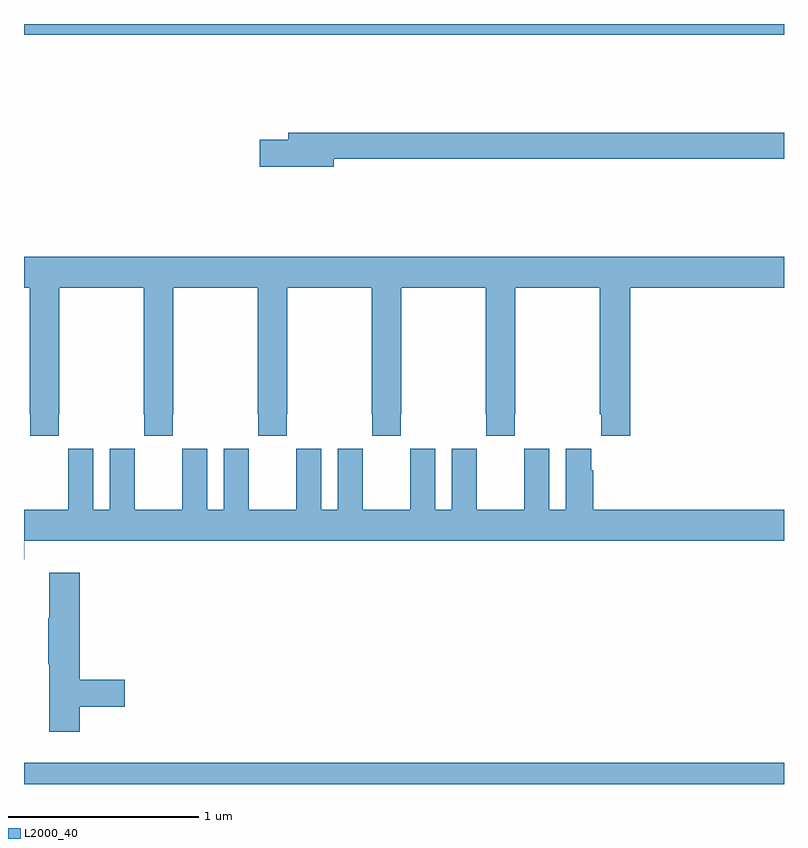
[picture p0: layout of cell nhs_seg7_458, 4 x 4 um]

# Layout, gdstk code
import gdstk
lib = gdstk.Library(unit=1e-6, precision=1e-09)
def R(c, l, rs):  # rectangles x0, y0, x1, y1
    for r in rs: c.add(gdstk.rectangle(r[:2], r[2:], *l))
def P(c, l, *ps):  # polygons
    for p in ps: c.add(gdstk.Polygon(p, *l))
L2000_40 = (2000, 40)

nhs_seg7_458 = lib.new_cell('nhs_seg7_458')
R(nhs_seg7_458, L2000_40, [(147,1002,151,1002.112), (147,1005.944,151,1006)])
P(nhs_seg7_458, L2000_40, [(148.63,1005.292),(151,1005.292),(151,1005.428),(148.391,1005.428),(148.391,1005.392),(148.242,1005.392),(148.242,1005.25),(148.63,1005.25)],
  [(147.183,1003.945),(147.186,1003.945),(147.186,1004.612),(147.631,1004.612),(147.631,1003.945),(147.633,1003.945),(147.633,1003.833),(147.783,1003.833),(147.783,1003.945),(147.786,1003.945),(147.786,1004.612),(148.231,1004.612),(148.231,1003.945),(148.233,1003.945),(148.233,1003.833),(148.383,1003.833),(148.383,1003.945),(148.386,1003.945),(148.386,1004.612),(148.831,1004.612),(148.831,1003.945),(148.833,1003.945),(148.833,1003.833),(148.983,1003.833),(148.983,1003.945),(148.986,1003.945),(148.986,1004.612),(149.431,1004.612),(149.431,1003.945),(149.433,1003.945),(149.433,1003.833),(149.583,1003.833),(149.583,1003.945),(149.586,1003.945),(149.586,1004.612),(150.031,1004.612),(150.031,1003.945),(150.037,1003.945),(150.037,1003.833),(150.191,1003.833),(150.191,1004.612),(151,1004.612),(151,1004.776),(147,1004.776),(147,1004.612),(147.031,1004.612),(147.031,1003.945),(147.033,1003.945),(147.033,1003.833),(147.183,1003.833)],
  [(151,1003.444),(149.996,1003.444),(149.996,1003.652),(149.986,1003.652),(149.986,1003.765),(149.852,1003.765),(149.852,1003.444),(149.764,1003.444),(149.764,1003.765),(149.634,1003.765),(149.634,1003.652),(149.633,1003.652),(149.633,1003.444),(149.383,1003.444),(149.383,1003.652),(149.382,1003.652),(149.382,1003.765),(149.252,1003.765),(149.252,1003.444),(149.164,1003.444),(149.164,1003.765),(149.034,1003.765),(149.034,1003.652),(149.033,1003.652),(149.033,1003.444),(148.783,1003.444),(148.783,1003.652),(148.782,1003.652),(148.782,1003.765),(148.652,1003.765),(148.652,1003.444),(148.564,1003.444),(148.564,1003.765),(148.434,1003.765),(148.434,1003.652),(148.433,1003.652),(148.433,1003.444),(148.183,1003.444),(148.183,1003.652),(148.182,1003.652),(148.182,1003.765),(148.052,1003.765),(148.052,1003.444),(147.964,1003.444),(147.964,1003.765),(147.834,1003.765),(147.834,1003.652),(147.833,1003.652),(147.833,1003.444),(147.583,1003.444),(147.583,1003.652),(147.582,1003.652),(147.582,1003.765),(147.452,1003.765),(147.452,1003.444),(147.364,1003.444),(147.364,1003.765),(147.234,1003.765),(147.234,1003.652),(147.233,1003.652),(147.233,1003.444),(147,1003.444),(147,1003.184),(147.002,1003.184),(147.002,1003.28),(151,1003.28)],
  [(147.293,1002.406),(147.529,1002.406),(147.529,1002.548),(147.293,1002.548),(147.293,1003.111),(147.134,1003.111),(147.134,1002.872),(147.127,1002.872),(147.127,1002.631),(147.134,1002.631),(147.134,1002.276),(147.293,1002.276)])

lib.write_gds('nhs_seg7_458.gds')
